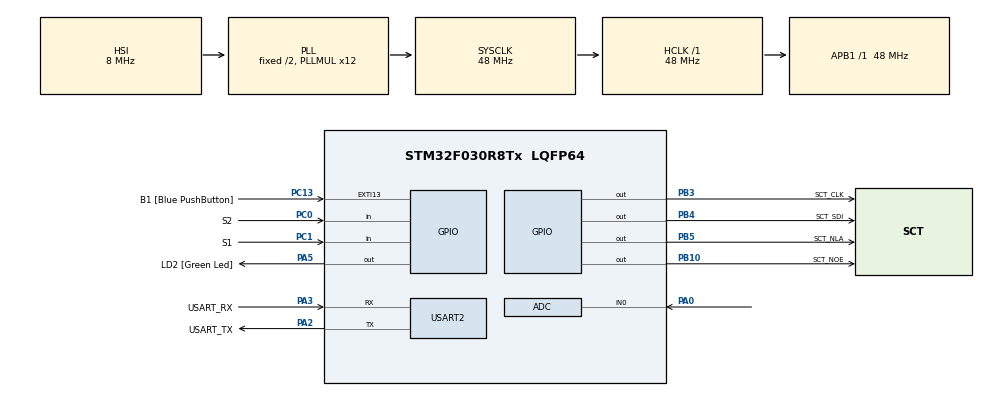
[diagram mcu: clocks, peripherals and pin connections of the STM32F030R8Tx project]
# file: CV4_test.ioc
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ADC.ContinuousConvMode=ENABLE
ADC.Overrun=ADC_OVR_DATA_OVERWRITTEN
ADC.SamplingTime=ADC_SAMPLETIME_239CYCLES_5
Mcu.Family=STM32F0
Mcu.Name=STM32F030R8Tx
Mcu.Package=LQFP64
NVIC.ADC1_IRQn=true\:0\:0\:false\:false\:true\:true\:true\:true
PA0.Mode=IN0
PA0.Signal=ADC_IN0
PA13.GPIO_Label=TMS
PA13.Mode=Serial_Wire
PA13.Signal=SYS_SWDIO
PA14.GPIO_Label=TCK
PA14.Mode=Serial_Wire
PA14.Signal=SYS_SWCLK
PA2.GPIO_Label=USART_TX
PA2.GPIO_Mode=GPIO_MODE_AF_PP
PA2.GPIO_PuPd=GPIO_NOPULL
PA2.GPIO_Speed=GPIO_SPEED_FREQ_LOW
PA2.Mode=Asynchronous
PA2.Signal=USART2_TX
PA3.GPIO_Label=USART_RX
PA3.GPIO_Mode=GPIO_MODE_AF_PP
PA3.GPIO_PuPd=GPIO_NOPULL
PA3.GPIO_Speed=GPIO_SPEED_FREQ_LOW
PA3.Mode=Asynchronous
PA3.Signal=USART2_RX
PA5.GPIO_Label=LD2 [Green Led]
PA5.GPIO_Mode=GPIO_MODE_OUTPUT_PP
PA5.GPIO_PuPd=GPIO_NOPULL
PA5.GPIO_Speed=GPIO_SPEED_FREQ_LOW
PA5.Signal=GPIO_Output
PB10.GPIO_Label=SCT_NOE
PB10.Signal=GPIO_Output
PB3.GPIO_Label=SCT_CLK
PB3.Signal=GPIO_Output
PB4.GPIO_Label=SCT_SDI
PB4.Signal=GPIO_Output
PB5.GPIO_Label=SCT_NLA
PB5.Signal=GPIO_Output
PC0.GPIO_Label=S2
PC0.GPIO_PuPd=GPIO_PULLUP
PC0.Signal=GPIO_Input
PC1.GPIO_Label=S1
PC1.GPIO_PuPd=GPIO_PULLUP
PC1.Signal=GPIO_Input
PC13.GPIO_Label=B1 [Blue PushButton]
PC13.GPIO_ModeDefaultEXTI=GPIO_MODE_IT_FALLING
PC13.Signal=GPXTI13
PC14-OSC32_IN.Mode=LSE-External-Oscillator
PC14-OSC32_IN.Signal=RCC_OSC32_IN
PC15-OSC32_OUT.Mode=LSE-External-Oscillator
PC15-OSC32_OUT.Signal=RCC_OSC32_OUT
PF0-OSC_IN.Mode=HSE-External-Clock-Source
PF0-OSC_IN.Signal=RCC_OSC_IN
PF1-OSC_OUT.Signal=RCC_OSC_OUT
ProjectManager.HeapSize=0x200
ProjectManager.StackSize=0x400
ProjectManager.TargetToolchain=STM32CubeIDE
RCC.AHBFreq_Value=48000000
RCC.APB1Freq_Value=48000000
RCC.APB1TimFreq_Value=48000000
RCC.HCLKFreq_Value=48000000
RCC.PLLMUL=RCC_PLL_MUL12
RCC.SYSCLKFreq_VALUE=48000000
RCC.SYSCLKSource=RCC_SYSCLKSOURCE_PLLCLK
USART2.VirtualMode-Asynchronous=VM_ASYNC
VP_ADC_TempSens_Input.Mode=IN-TempSens
VP_ADC_Vref_Input.Mode=IN-Vrefint
board=NUCLEO-F030R8

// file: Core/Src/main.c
/* USER CODE BEGIN Header */
/**
 ******************************************************************************
 * @file           : main.c
 * @brief          : Main program body
 ******************************************************************************
 * @attention
 *
 * Copyright (c) 2025 STMicroelectronics.
 * All rights reserved.
 *
 * This software is licensed under terms that can be found in the LICENSE file
 * in the root directory of this software component.
 * If no LICENSE file comes with this software, it is provided AS-IS.
 *
 ******************************************************************************
 */
/* USER CODE END Header */
#include "main.h"

/* USER CODE BEGIN Includes */
#include "sct.h"
/* USER CODE END Includes */

/* USER CODE BEGIN PD */
#define ADC_Q 12

/* Temperature sensor calibration value address */
#define TEMP110_CAL_ADDR ((uint16_t*) ((uint32_t) 0x1FFFF7C2))
#define TEMP30_CAL_ADDR ((uint16_t*) ((uint32_t) 0x1FFFF7B8))
/* Internal voltage reference calibration value address */
#define VREFINT_CAL_ADDR ((uint16_t*) ((uint32_t) 0x1FFFF7BA))

/* USER CODE END PD */

ADC_HandleTypeDef hadc;

UART_HandleTypeDef huart2;

void SystemClock_Config(void);
static void MX_GPIO_Init(void);
static void MX_USART2_UART_Init(void);
static void MX_ADC_Init(void);

/* USER CODE BEGIN 0 */

static volatile uint32_t raw_pot=0;
static volatile uint32_t raw_temp = 0;
static volatile uint32_t raw_vref = 0;

// ===== DICE TRAINING =====
typedef enum { DICE_RUN, DICE_SLOW, DICE_STOP } dice_state_t;
static dice_state_t dice_state = DICE_RUN;

static uint8_t dice = 1;
static uint32_t step_ms = 30;
static uint32_t next_step = 0;
static uint32_t slow_timer = 0;

// jednoduchý LFSR random
static uint16_t lfsr = 0xACE1u;
static uint8_t rand_1_6(void)
{
    lfsr = (lfsr >> 1) ^ (-(lfsr & 1u) & 0xB400u);
    return (lfsr % 6u) + 1u;
}

// for state machine
typedef enum { SHOW_POT = 0, SHOW_VOLT, SHOW_TEMP } view_t;
static  view_t view = SHOW_POT;

// define void function;
void update_view(void);

/* USER CODE END 0 */

int main(void)
{

	/* USER CODE BEGIN 1 */
	//	uint32_t r_val=0;

	/* USER CODE END 1 */

	/* MCU Configuration--------------------------------------------------------*/

	/* Reset of all peripherals, Initializes the Flash interface and the Systick. */
	HAL_Init();

	/* Configure the system clock */
	SystemClock_Config();

	/* Initialize all configured peripherals */
	MX_GPIO_Init();
	MX_USART2_UART_Init();
	MX_ADC_Init();
	/* USER CODE BEGIN 2 */
	sct_init();
	HAL_ADCEx_Calibration_Start(&hadc);
	HAL_ADC_Start_IT(&hadc);

	/* USER CODE END 2 */

	/* Infinite loop */
	/* USER CODE BEGIN WHILE */
	while (1)
	{

//		uint8_t  bl;
//		uint8_t dot=0;
//
//
////		update_view();
//
//		uint16_t disp = 0;
//		switch (view) {
//		case SHOW_POT: {
//			// POT: value 0 to 500
//			//		  disp = (uint16_t)((raw_pot * 500u + 2047u) / 4095u); // chujna kakjato bez bejo lucshe
//			disp = (uint16_t)((raw_pot * 501u) / 4095u);
//			bl = (uint8_t)((disp * 8u) / 500u); // bargraph: value 0 to 8
//		} break;
//
//		case SHOW_VOLT: {
//			// show AVCC in the next type: 3.30V → "330"
//			uint32_t avcc_centi = 330u * (*VREFINT_CAL_ADDR) / (raw_vref ? raw_vref : 1u);
//			if (avcc_centi > 999u) avcc_centi = 999u;
//			disp = (uint16_t)avcc_centi;
//			dot=1;   //add dot on the display on the first segment, like this "3.30"
//		} break;
//
//		case SHOW_TEMP: {
//			int32_t t = (int32_t)raw_temp - (int32_t)(*TEMP30_CAL_ADDR);
//			t = t * 80; // (110-30)
//			t = t / ((int32_t)(*TEMP110_CAL_ADDR) - (int32_t)(*TEMP30_CAL_ADDR));
//			t = t + 30;
//			if (t < 0) t = 0;
//			if (t > 999) t = 999;
//			disp = (uint16_t)t;
//		} break;
//		}
//
//		sct_value(disp, bl, dot);   // push value to the display
//		HAL_Delay(50);

		uint32_t now = HAL_GetTick();

		// tlačítko S1 – stop
		static uint8_t s1_prev = 1;
		uint8_t s1 = HAL_GPIO_ReadPin(S1_GPIO_Port, S1_Pin);
		if (s1_prev == 1 && s1 == 0) {
		    dice_state = DICE_STOP;
		}
		s1_prev = s1;

		// tlačítko S2 – restart
		static uint8_t s2_prev = 1;
		uint8_t s2 = HAL_GPIO_ReadPin(S2_GPIO_Port, S2_Pin);
		static uint32_t t0 = 0;

		if (s2_prev == 1 && s2 == 0) {
		    dice_state = DICE_RUN;
		    step_ms = 30;
		    next_step = now;
		    slow_timer = 0;
		    t0 = 0;
		}
		s2_prev = s2;

		// logika kostky
		if (dice_state != DICE_STOP) {

		    if ((int32_t)(now - next_step) >= 0) {
		        dice = rand_1_6();
		        next_step = now + step_ms;
		    }

		    if (dice_state == DICE_RUN) {
		        if (t0 == 0) t0 = now;
		        if (now - t0 > 1500) {
		            dice_state = DICE_SLOW;
		            slow_timer = now;
		        }
		    }
		    else if (dice_state == DICE_SLOW) {
		        if (now - slow_timer > 120) {
		            slow_timer = now;
		            if (step_ms < 250) step_ms += 20;
		            else dice_state = DICE_STOP;
		        }
		    }
		}

		sct_value(dice, 0, 0);
		HAL_Delay(1);

		/* USER CODE END WHILE */

	}
}

void SystemClock_Config(void)
{
	RCC_OscInitTypeDef RCC_OscInitStruct = {0};
	RCC_ClkInitTypeDef RCC_ClkInitStruct = {0};

	/** Initializes the RCC Oscillators according to the specified parameters
	 * in the RCC_OscInitTypeDef structure.
	 */
	RCC_OscInitStruct.OscillatorType = RCC_OSCILLATORTYPE_HSI|RCC_OSCILLATORTYPE_HSI14;
	RCC_OscInitStruct.HSIState = RCC_HSI_ON;
	RCC_OscInitStruct.HSI14State = RCC_HSI14_ON;
	RCC_OscInitStruct.HSICalibrationValue = RCC_HSICALIBRATION_DEFAULT;
	RCC_OscInitStruct.HSI14CalibrationValue = 16;
	RCC_OscInitStruct.PLL.PLLState = RCC_PLL_ON;
	RCC_OscInitStruct.PLL.PLLSource = RCC_PLLSOURCE_HSI;
	RCC_OscInitStruct.PLL.PLLMUL = RCC_PLL_MUL12;
	RCC_OscInitStruct.PLL.PREDIV = RCC_PREDIV_DIV1;
	if (HAL_RCC_OscConfig(&RCC_OscInitStruct) != HAL_OK)
	{
		Error_Handler();
	}

	/** Initializes the CPU, AHB and APB buses clocks
	 */
	RCC_ClkInitStruct.ClockType = RCC_CLOCKTYPE_HCLK|RCC_CLOCKTYPE_SYSCLK
			|RCC_CLOCKTYPE_PCLK1;
	RCC_ClkInitStruct.SYSCLKSource = RCC_SYSCLKSOURCE_PLLCLK;
	RCC_ClkInitStruct.AHBCLKDivider = RCC_SYSCLK_DIV1;
	RCC_ClkInitStruct.APB1CLKDivider = RCC_HCLK_DIV1;

	if (HAL_RCC_ClockConfig(&RCC_ClkInitStruct, FLASH_LATENCY_1) != HAL_OK)
	{
		Error_Handler();
	}
}

static void MX_ADC_Init(void)
{

	ADC_ChannelConfTypeDef sConfig = {0};

	/** Configure the global features of the ADC (Clock, Resolution, Data Alignment and number of conversion)
	 */
	hadc.Instance = ADC1;
	hadc.Init.ClockPrescaler = ADC_CLOCK_ASYNC_DIV1;
	hadc.Init.Resolution = ADC_RESOLUTION_12B;
	hadc.Init.DataAlign = ADC_DATAALIGN_RIGHT;
	hadc.Init.ScanConvMode = ADC_SCAN_DIRECTION_FORWARD;
	hadc.Init.EOCSelection = ADC_EOC_SINGLE_CONV;
	hadc.Init.LowPowerAutoWait = DISABLE;
	hadc.Init.LowPowerAutoPowerOff = DISABLE;
	hadc.Init.ContinuousConvMode = ENABLE;
	hadc.Init.DiscontinuousConvMode = DISABLE;
	hadc.Init.ExternalTrigConv = ADC_SOFTWARE_START;
	hadc.Init.ExternalTrigConvEdge = ADC_EXTERNALTRIGCONVEDGE_NONE;
	hadc.Init.DMAContinuousRequests = DISABLE;
	hadc.Init.Overrun = ADC_OVR_DATA_OVERWRITTEN;
	if (HAL_ADC_Init(&hadc) != HAL_OK)
	{
		Error_Handler();
	}

	/** Configure for the selected ADC regular channel to be converted.
	 */
	sConfig.Channel = ADC_CHANNEL_0;
	sConfig.Rank = ADC_RANK_CHANNEL_NUMBER;
	sConfig.SamplingTime = ADC_SAMPLETIME_239CYCLES_5;
	if (HAL_ADC_ConfigChannel(&hadc, &sConfig) != HAL_OK)
	{
		Error_Handler();
	}

	/** Configure for the selected ADC regular channel to be converted.
	 */
	sConfig.Channel = ADC_CHANNEL_TEMPSENSOR;
	if (HAL_ADC_ConfigChannel(&hadc, &sConfig) != HAL_OK)
	{
		Error_Handler();
	}

	/** Configure for the selected ADC regular channel to be converted.
	 */
	sConfig.Channel = ADC_CHANNEL_VREFINT;
	if (HAL_ADC_ConfigChannel(&hadc, &sConfig) != HAL_OK)
	{
		Error_Handler();
	}

}

static void MX_USART2_UART_Init(void)
{

	huart2.Instance = USART2;
	huart2.Init.BaudRate = 38400;
	huart2.Init.WordLength = UART_WORDLENGTH_8B;
	huart2.Init.StopBits = UART_STOPBITS_1;
	huart2.Init.Parity = UART_PARITY_NONE;
	huart2.Init.Mode = UART_MODE_TX_RX;
	huart2.Init.HwFlowCtl = UART_HWCONTROL_NONE;
	huart2.Init.OverSampling = UART_OVERSAMPLING_16;
	huart2.Init.OneBitSampling = UART_ONE_BIT_SAMPLE_DISABLE;
	huart2.AdvancedInit.AdvFeatureInit = UART_ADVFEATURE_NO_INIT;
	if (HAL_UART_Init(&huart2) != HAL_OK)
	{
		Error_Handler();
	}

}

static void MX_GPIO_Init(void)
{
	GPIO_InitTypeDef GPIO_InitStruct = {0};

	/* GPIO Ports Clock Enable */
	__HAL_RCC_GPIOC_CLK_ENABLE();
	__HAL_RCC_GPIOF_CLK_ENABLE();
	__HAL_RCC_GPIOA_CLK_ENABLE();
	__HAL_RCC_GPIOB_CLK_ENABLE();

	/*Configure GPIO pin Output Level */
	HAL_GPIO_WritePin(LD2_GPIO_Port, LD2_Pin, GPIO_PIN_RESET);

	/*Configure GPIO pin Output Level */
	HAL_GPIO_WritePin(GPIOB, SCT_NOE_Pin|SCT_CLK_Pin|SCT_SDI_Pin|SCT_NLA_Pin, GPIO_PIN_RESET);

	/*Configure GPIO pin : B1_Pin */
	GPIO_InitStruct.Pin = B1_Pin;
	GPIO_InitStruct.Mode = GPIO_MODE_IT_FALLING;
	GPIO_InitStruct.Pull = GPIO_NOPULL;
	HAL_GPIO_Init(B1_GPIO_Port, &GPIO_InitStruct);

	/*Configure GPIO pins : S2_Pin S1_Pin */
	GPIO_InitStruct.Pin = S2_Pin|S1_Pin;
	GPIO_InitStruct.Mode = GPIO_MODE_INPUT;
	GPIO_InitStruct.Pull = GPIO_PULLUP;
	HAL_GPIO_Init(GPIOC, &GPIO_InitStruct);

	/*Configure GPIO pin : LD2_Pin */
	GPIO_InitStruct.Pin = LD2_Pin;
	GPIO_InitStruct.Mode = GPIO_MODE_OUTPUT_PP;
	GPIO_InitStruct.Pull = GPIO_NOPULL;
	GPIO_InitStruct.Speed = GPIO_SPEED_FREQ_LOW;
	HAL_GPIO_Init(LD2_GPIO_Port, &GPIO_InitStruct);

	/*Configure GPIO pins : SCT_NOE_Pin SCT_CLK_Pin SCT_SDI_Pin SCT_NLA_Pin */
	GPIO_InitStruct.Pin = SCT_NOE_Pin|SCT_CLK_Pin|SCT_SDI_Pin|SCT_NLA_Pin;
	GPIO_InitStruct.Mode = GPIO_MODE_OUTPUT_PP;
	GPIO_InitStruct.Pull = GPIO_NOPULL;
	GPIO_InitStruct.Speed = GPIO_SPEED_FREQ_LOW;
	HAL_GPIO_Init(GPIOB, &GPIO_InitStruct);

}

/* USER CODE BEGIN 4 */
void HAL_ADC_ConvCpltCallback(ADC_HandleTypeDef* hadc)
{
	uint32_t s = HAL_ADC_GetValue(hadc);
	static  uint32_t avg_pot = 0;
	static  uint8_t  chan = 0; // 0–2: Rank1=IN0 (or value on R2), Rank2=Temp, Rank3=Vref

	if (chan == 0) {                 // Rank1: IN0 (POT)
		if (avg_pot == 0) avg_pot = s << ADC_Q;  // быстрая инициализация
		avg_pot -= (avg_pot >> ADC_Q);
		avg_pot += s;
		raw_pot = (avg_pot >> ADC_Q);
	} else if (chan == 1) {          // Rank2: TEMP
		raw_temp = s;
	} else {                          // Rank3: VREFINT
		raw_vref = s;
	}

	if (__HAL_ADC_GET_FLAG(hadc, ADC_FLAG_EOS)) chan = 0;
	else chan++;
}
/* debounce not used
uint8_t read_button_S1(void)
{
	static uint32_t delay;
	static uint16_t debounce = 0xFFFF;
	uint32_t Tick = HAL_GetTick();

	if (Tick > delay + 5) {
		delay = Tick;

		debounce <<= 1;
		if (HAL_GPIO_ReadPin(S1_GPIO_Port, S1_Pin) == GPIO_PIN_SET) {
			debounce |= 0x0001;   // pull-up: отпущена = 1
		}
		if (debounce == 0x8000) {
			return 1;             // нажата
		}
	}
	return 0;                     // не нажата
}

uint8_t read_button_S2(void)
{
	static uint32_t delay;
	static uint16_t debounce = 0xFFFF;
	uint32_t Tick = HAL_GetTick();

	if (Tick > delay + 5) {
		delay = Tick;

		debounce <<= 1;
		if (HAL_GPIO_ReadPin(S2_GPIO_Port, S2_Pin) == GPIO_PIN_SET) {
			debounce |= 0x0001;   // pull-up: отпущена = 1
		}
		if (debounce == 0x8000) {
			return 1;             // нажата
		}
	}
	return 0;                     // не нажата
}
*/
void update_view(void){
	uint32_t now = HAL_GetTick();
	static uint32_t view_timestamp = 0;

	if (HAL_GPIO_ReadPin(S1_GPIO_Port, S1_Pin) != GPIO_PIN_SET) {
		view = SHOW_VOLT;
		view_timestamp = now;
	} else if (HAL_GPIO_ReadPin(S2_GPIO_Port, S2_Pin) != GPIO_PIN_SET) {
		view = SHOW_TEMP;
		view_timestamp = now;
	} else {
		// если 1 сек не нажимали — вернуться на POT
		if ((now - view_timestamp) > 1000u) view = SHOW_POT;
	}
}

/* USER CODE END 4 */

void Error_Handler(void)
{
	__disable_irq();
	while (1)
	{
	}
}
